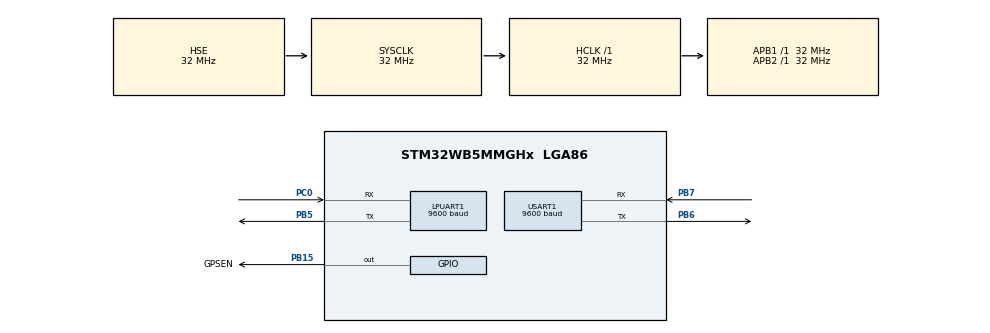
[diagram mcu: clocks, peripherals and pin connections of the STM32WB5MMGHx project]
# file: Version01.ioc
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ADC1.Channel-0\#ChannelRegularConversion=ADC_CHANNEL_TEMPSENSOR
ADC1.Channel-1\#ChannelRegularConversion=ADC_CHANNEL_VBAT
ADC1.ClockPrescaler=ADC_CLOCK_ASYNC_DIV32
ADC1.DMAContinuousRequests=DISABLE
ADC1.EOCSelection=ADC_EOC_SINGLE_CONV
ADC1.NbrOfConversion=2
ADC1.NbrOfConversionFlag=1
ADC1.OffsetNumber-0\#ChannelRegularConversion=ADC_OFFSET_NONE
ADC1.OffsetNumber-1\#ChannelRegularConversion=ADC_OFFSET_NONE
ADC1.Overrun=ADC_OVR_DATA_OVERWRITTEN
ADC1.OversamplingMode=ENABLE
ADC1.Rank-0\#ChannelRegularConversion=1
ADC1.Rank-1\#ChannelRegularConversion=2
ADC1.Ratio=ADC_OVERSAMPLING_RATIO_4
ADC1.RightBitShift=ADC_RIGHTBITSHIFT_2
ADC1.SamplingTime-0\#ChannelRegularConversion=ADC_SAMPLETIME_24CYCLES_5
ADC1.SamplingTime-1\#ChannelRegularConversion=ADC_SAMPLETIME_24CYCLES_5
ADC1.master=1
Dma.ADC1.0.Direction=DMA_PERIPH_TO_MEMORY
Dma.ADC1.0.EventEnable=DISABLE
Dma.ADC1.0.Instance=DMA1_Channel1
Dma.ADC1.0.MemDataAlignment=DMA_MDATAALIGN_HALFWORD
Dma.ADC1.0.MemInc=DMA_MINC_ENABLE
Dma.ADC1.0.Mode=DMA_NORMAL
Dma.ADC1.0.PeriphDataAlignment=DMA_PDATAALIGN_HALFWORD
Dma.ADC1.0.PeriphInc=DMA_PINC_DISABLE
Dma.ADC1.0.Polarity=HAL_DMAMUX_REQ_GEN_RISING
Dma.ADC1.0.Priority=DMA_PRIORITY_LOW
Dma.ADC1.0.RequestNumber=1
Dma.ADC1.0.SignalID=NONE
Dma.ADC1.0.SyncEnable=DISABLE
Dma.ADC1.0.SyncPolarity=HAL_DMAMUX_SYNC_NO_EVENT
Dma.ADC1.0.SyncRequestNumber=1
Dma.ADC1.0.SyncSignalID=NONE
Dma.Request0=ADC1
LPUART1.BaudRate=9600
LPUART1.DMADisableonRxErrorParam=UART_ADVFEATURE_DMA_ENABLEONRXERROR
LPUART1.FIFOMode=UART_FIFOMODE_ENABLE
LPUART1.OverrunDisableParam=UART_ADVFEATURE_OVERRUN_ENABLE
LPUART1.RXFIFOThreshold=UART_RXFIFO_THRESHOLD_1_8
LPUART1.TXFIFOThreshold=UART_TXFIFO_THRESHOLD_1_8
Mcu.Family=STM32WB
Mcu.Name=STM32WB5MMGHx
Mcu.Package=LGA86
NVIC.ADC1_IRQn=true\:0\:0\:false\:false\:true\:true\:true
NVIC.DMA1_Channel1_IRQn=true\:0\:0\:false\:false\:true\:false\:true
NVIC.HSEM_IRQn=true\:0\:0\:false\:false\:true\:false\:true
NVIC.IPCC_C1_RX_IRQn=true\:0\:0\:false\:false\:true\:true\:true
NVIC.IPCC_C1_TX_IRQn=true\:0\:0\:false\:false\:true\:true\:true
NVIC.LPUART1_IRQn=true\:0\:0\:false\:false\:true\:true\:true
NVIC.PriorityGroup=NVIC_PRIORITYGROUP_4
NVIC.USART1_IRQn=true\:0\:0\:false\:false\:true\:true\:true
PB15.GPIO_Label=GPSEN
PB15.Signal=GPIO_Output
PB5.Mode=Asynchronous
PB5.Signal=LPUART1_TX
PB6.GPIO_Speed=GPIO_SPEED_FREQ_HIGH
PB6.Mode=Asynchronous
PB6.Signal=USART1_TX
PB7.GPIO_Speed=GPIO_SPEED_FREQ_HIGH
PB7.Mode=Asynchronous
PB7.Signal=USART1_RX
PC0.Mode=Asynchronous
PC0.Signal=LPUART1_RX
ProjectManager.HeapSize=0x400
ProjectManager.StackSize=0x1000
ProjectManager.TargetToolchain=STM32CubeIDE
RCC.ADCCLockSelection=RCC_ADCCLKSOURCE_SYSCLK
RCC.ADCFreq_Value=32000000
RCC.AHBFreq_Value=32000000
RCC.APB1Freq_Value=32000000
RCC.APB1TimFreq_Value=32000000
RCC.APB2Freq_Value=32000000
RCC.APB2TimFreq_Value=32000000
RCC.APB3Freq_Value=16000000
RCC.CortexFreq_Value=32000000
RCC.HCLKFreq_Value=32000000
RCC.HSE_VALUE=32000000
RCC.HSI48_VALUE=48000000
RCC.HSI_VALUE=16000000
RCC.LPUART1CLockSelection=RCC_LPUART1CLKSOURCE_LSE
RCC.PLLSAI1N=4
RCC.RFWKPClockSelection=RCC_RFWKPCLKSOURCE_LSE
RCC.RTCClockSelection=RCC_RTCCLKSOURCE_LSE
RCC.SMPSCLockSelectionVirtual=RCC_SMPSCLKSOURCE_HSE
RCC.SYSCLKFreq_VALUE=32000000
RCC.SYSCLKSource=RCC_SYSCLKSOURCE_HSE
RCC.USART1CLockSelection=RCC_USART1CLKSOURCE_SYSCLK
RCC.USBFreq_Value=8000000
RCC.VCOOutputFreq_Value=32000000
STM32_WPAN.BLE_ADDR_TYPE=PUBLIC_ADDR
STM32_WPAN.BLE_DBG_APP_EN=0
STM32_WPAN.CFG_ADV_BD_ADDRESS=0x80e1260050d6
STM32_WPAN.CFG_BLE_LSE_SOURCE=1
STM32_WPAN.CFG_DEBUGGER_SUPPORTED=0
STM32_WPAN.CFG_DEBUG_APP_TRACE=1
STM32_WPAN.CFG_DEBUG_BLE_TRACE=1
STM32_WPAN.CFG_DEBUG_TRACE_FULL=0
STM32_WPAN.CFG_DEBUG_TRACE_LIGHT=1
STM32_WPAN.CFG_DEBUG_TRACE_UART=hw_uart1
STM32_WPAN.CFG_FAST_CONN_ADV_INTERVAL_MAX=2500
STM32_WPAN.CFG_FAST_CONN_ADV_INTERVAL_MAX_HEXA=0x0FA0
STM32_WPAN.CFG_FAST_CONN_ADV_INTERVAL_MIN=1000
STM32_WPAN.CFG_FAST_CONN_ADV_INTERVAL_MIN_HEXA=0x0640
STM32_WPAN.CFG_GAP_DEVICE_NAME=P2PSRV1
STM32_WPAN.CFG_GAP_DEVICE_NAME_LENGTH=7
STM32_WPAN.CFG_HW_USART1_DMA_TX_SUPPORTED=0
STM32_WPAN.CFG_HW_USART1_ENABLED=0
STM32_WPAN.CFG_LPM_SUPPORTED=1
STM32_WPAN.CFG_USE_SMPS=1
STM32_WPAN.CUSTOM_P2P_SERVER=Disabled
STM32_WPAN.CUSTOM_TEMPLATE=Enabled
STM32_WPAN.DBG_TRACE_USE_CIRCULAR_QUEUE=0
STM32_WPAN.INCLUDE_AD_TYPE_ADVERTISING_INTERVAL=0
STM32_WPAN.INCLUDE_AD_TYPE_COMPLETE_LOCAL_NAME=1
STM32_WPAN.INCLUDE_AD_TYPE_MANUFACTURER_SPECIFIC_DATA=0
STM32_WPAN.INCLUDE_AD_TYPE_TX_POWER_LEVEL=1
STM32_WPAN.NUMBER_OF_SERVICES=3
STM32_WPAN.SERVICE1_CHAR1_LONG_NAME=LNFeature
STM32_WPAN.SERVICE1_CHAR1_PROP_BROADCAST=CHAR_PROP_BROADCAST
STM32_WPAN.SERVICE1_CHAR1_PROP_READ=CHAR_PROP_READ
STM32_WPAN.SERVICE1_CHAR1_SHORT_NAME=LNF
STM32_WPAN.SERVICE1_CHAR1_UUID=2A 6A
STM32_WPAN.SERVICE1_CHAR1_UUID_TYPE=0x01
STM32_WPAN.SERVICE1_CHAR2_LONG_NAME=LocationandSpeed
STM32_WPAN.SERVICE1_CHAR2_PROP_BROADCAST=CHAR_PROP_BROADCAST
STM32_WPAN.SERVICE1_CHAR2_PROP_READ=CHAR_PROP_READ
STM32_WPAN.SERVICE1_CHAR2_SHORT_NAME=LSc
STM32_WPAN.SERVICE1_CHAR2_UUID=2A 67
STM32_WPAN.SERVICE1_CHAR2_UUID_TYPE=0x01
STM32_WPAN.SERVICE1_LONG_NAME=LocationService
STM32_WPAN.SERVICE1_NUMBER_OF_CHARACTERISTICS=2
STM32_WPAN.SERVICE1_SHORT_NAME=LS
STM32_WPAN.SERVICE1_UUID=18 19
STM32_WPAN.SERVICE1_UUID_TYPE=0x01
STM32_WPAN.SERVICE2_CHAR1_LONG_NAME=BatteryLevel
STM32_WPAN.SERVICE2_CHAR1_PROP_READ=CHAR_PROP_READ
STM32_WPAN.SERVICE2_CHAR1_SHORT_NAME=BatLvl
STM32_WPAN.SERVICE2_CHAR1_UUID=2A 19
STM32_WPAN.SERVICE2_CHAR1_UUID_TYPE=0x01
STM32_WPAN.SERVICE2_LONG_NAME=BatteryService
STM32_WPAN.SERVICE2_SHORT_NAME=BatServ
STM32_WPAN.SERVICE2_UUID=18 0F
STM32_WPAN.SERVICE2_UUID_TYPE=0x01
STM32_WPAN.SERVICE3_CHAR1_LENGTH_CHARACTERISTIC=CHAR_VALUE_LEN_CONSTANT
STM32_WPAN.SERVICE3_CHAR1_LONG_NAME=OTABootRequest
STM32_WPAN.SERVICE3_CHAR1_PROP_WRITE=CHAR_PROP_WRITE
STM32_WPAN.SERVICE3_CHAR1_SHORT_NAME=OTABr
STM32_WPAN.SERVICE3_CHAR1_UUID=00 00 FE 11 8E 22 45 41 9D 4C 21 ED AE 82 ED 19
STM32_WPAN.SERVICE3_CHAR1_UUID_128_INPUT_TYPE=1
STM32_WPAN.SERVICE3_CHAR1_VALUE_LENGTH=3
STM32_WPAN.SERVICE3_CHAR2_LONG_NAME=OTASwitchStatus
STM32_WPAN.SERVICE3_CHAR2_PROP_NOTIFY=CHAR_PROP_NOTIFY
STM32_WPAN.SERVICE3_CHAR2_SHORT_NAME=OTASS
STM32_WPAN.SERVICE3_CHAR2_UUID=00 00 FE 42 8E 22 45 41 9D 4C 21 ED AE 82 ED 00
STM32_WPAN.SERVICE3_CHAR2_UUID_128_INPUT_TYPE=1
STM32_WPAN.SERVICE3_CHAR3_LONG_NAME=OTANetworkStatus
STM32_WPAN.SERVICE3_CHAR3_PROP_WRITE_WITHOUT_RESP=CHAR_PROP_WRITE_WITHOUT_RESP
STM32_WPAN.SERVICE3_CHAR3_SHORT_NAME=OTANS
STM32_WPAN.SERVICE3_CHAR3_UUID=00 00 FE 11 8E 22 45 41 9D 4C 21 ED AE 82 ED 00
STM32_WPAN.SERVICE3_CHAR3_UUID_128_INPUT_TYPE=1
STM32_WPAN.SERVICE3_LONG_NAME=OTAService
STM32_WPAN.SERVICE3_NUMBER_OF_CHARACTERISTICS=1
STM32_WPAN.SERVICE3_SHORT_NAME=OTAServ
STM32_WPAN.SERVICE3_TYPE=PRIMARY_SERVICE
STM32_WPAN.SERVICE3_UUID=00 00 FE 20 CC 7A 48 2A 98 4A 7F 2E D5 B3 E5 8F
STM32_WPAN.SERVICE3_UUID_128_INPUT_TYPE=1
TIM2.Prescaler=32
USART1.BaudRate=9600
USART1.VirtualMode-Asynchronous=VM_ASYNC
VP_ADC1_TempSens_Input.Mode=IN-TempSens
VP_ADC1_Vbat_Input.Mode=IN-Vbat
VP_HSEM_VS_HSEM.Mode=HSEM_Activate
VP_IPCC_VS_IPCC.Mode=IPCC_Activate
VP_RCC_V_OSC32_IN.Mode=LSE-External-Clock-Source
VP_RCC_V_OSC_IN.Mode=HSE-External-Clock-Source
VP_RF_VS_RF.Mode=RF_Activate
VP_RTC_VS_RTC_Activate.Mode=RTC_Enabled
VP_SEQUENCER_VS_SEQUENCER.Mode=SEQUENCER_Enabled
VP_STM32_WPAN_VS_BLE_HOST.Mode=STM32_WPAN_Enabled
VP_TIM2_VS_ClockSourceINT.Mode=Internal
VP_TINY_LPM_VS_TINY_LPM.Mode=TINY_LPM_Enabled
board=custom

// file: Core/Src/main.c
/* USER CODE BEGIN Header */
/**
  ******************************************************************************
  * @file           : main.c
  * @brief          : Main program body
  ******************************************************************************
  * @attention
  *
  * Copyright (c) 2021 STMicroelectronics.
  * All rights reserved.
  *
  * This software is licensed under terms that can be found in the LICENSE file
  * in the root directory of this software component.
  * If no LICENSE file comes with this software, it is provided AS-IS.
  *
  ******************************************************************************
  */
/* USER CODE END Header */
#include "main.h"

/* USER CODE BEGIN Includes */

#include "stm32_lpm.h"
#include "stm32_seq.h"
#include "dbg_trace.h"
#include "hw_conf.h"
#include "otp.h"
/* USER CODE END Includes */

ADC_HandleTypeDef hadc1;
DMA_HandleTypeDef hdma_adc1;

IPCC_HandleTypeDef hipcc;

UART_HandleTypeDef huart1;

RTC_HandleTypeDef hrtc;

TIM_HandleTypeDef htim2;

void SystemClock_Config(void);
void PeriphCommonClock_Config(void);
static void MX_GPIO_Init(void);
static void MX_DMA_Init(void);
static void MX_RF_Init(void);
static void MX_RTC_Init(void);
static void MX_IPCC_Init(void);
static void MX_ADC1_Init(void);
static void MX_TIM2_Init(void);
static void MX_LPUART1_UART_Init(void);

int main(void)
{

  /* MCU Configuration--------------------------------------------------------*/

  /* Reset of all peripherals, Initializes the Flash interface and the Systick. */
  HAL_Init();
  /* Config code for STM32_WPAN (HSE Tuning must be done before system clock configuration) */
  MX_APPE_Config();

  /* Configure the system clock */
  SystemClock_Config();

/* Configure the peripherals common clocks */
  PeriphCommonClock_Config();

  /* IPCC initialisation */
   MX_IPCC_Init();

  /* Initialize all configured peripherals */
  MX_GPIO_Init();
  MX_DMA_Init();
  MX_RF_Init();
  MX_RTC_Init();
  MX_USART1_UART_Init();
  MX_ADC1_Init();
  MX_TIM2_Init();
  MX_LPUART1_UART_Init();
  /* USER CODE BEGIN 2 */
  // ENABLE DEBUGGER
  HAL_DBGMCU_EnableDBGSleepMode();
  HAL_DBGMCU_EnableDBGStopMode();
  LL_EXTI_EnableIT_32_63(LL_EXTI_LINE_48);
  HAL_UART_Transmit(&huart1, "Start1\n", 7, 1000);
  /* USER CODE END 2 */

  /* Init code for STM32_WPAN */
  MX_APPE_Init();
  /* Infinite loop */
  while (1)
  {
    MX_APPE_Process();

  }
}

void SystemClock_Config(void)
{
  RCC_OscInitTypeDef RCC_OscInitStruct = {0};
  RCC_ClkInitTypeDef RCC_ClkInitStruct = {0};

  /** Configure LSE Drive Capability
  */
  HAL_PWR_EnableBkUpAccess();
  __HAL_RCC_LSEDRIVE_CONFIG(RCC_LSEDRIVE_LOW);
  /** Configure the main internal regulator output voltage
  */
  __HAL_PWR_VOLTAGESCALING_CONFIG(PWR_REGULATOR_VOLTAGE_SCALE1);
  /** Initializes the RCC Oscillators according to the specified parameters
  * in the RCC_OscInitTypeDef structure.
  */
  RCC_OscInitStruct.OscillatorType = RCC_OSCILLATORTYPE_HSI|RCC_OSCILLATORTYPE_HSE
                              |RCC_OSCILLATORTYPE_LSE;
  RCC_OscInitStruct.HSEState = RCC_HSE_ON;
  RCC_OscInitStruct.LSEState = RCC_LSE_ON;
  RCC_OscInitStruct.HSIState = RCC_HSI_ON;
  RCC_OscInitStruct.HSICalibrationValue = RCC_HSICALIBRATION_DEFAULT;
  RCC_OscInitStruct.PLL.PLLState = RCC_PLL_NONE;
  if (HAL_RCC_OscConfig(&RCC_OscInitStruct) != HAL_OK)
  {
    Error_Handler();
  }
  /** Configure the SYSCLKSource, HCLK, PCLK1 and PCLK2 clocks dividers
  */
  RCC_ClkInitStruct.ClockType = RCC_CLOCKTYPE_HCLK4|RCC_CLOCKTYPE_HCLK2
                              |RCC_CLOCKTYPE_HCLK|RCC_CLOCKTYPE_SYSCLK
                              |RCC_CLOCKTYPE_PCLK1|RCC_CLOCKTYPE_PCLK2;
  RCC_ClkInitStruct.SYSCLKSource = RCC_SYSCLKSOURCE_HSE;
  RCC_ClkInitStruct.AHBCLKDivider = RCC_SYSCLK_DIV1;
  RCC_ClkInitStruct.APB1CLKDivider = RCC_HCLK_DIV1;
  RCC_ClkInitStruct.APB2CLKDivider = RCC_HCLK_DIV1;
  RCC_ClkInitStruct.AHBCLK2Divider = RCC_SYSCLK_DIV1;
  RCC_ClkInitStruct.AHBCLK4Divider = RCC_SYSCLK_DIV1;

  if (HAL_RCC_ClockConfig(&RCC_ClkInitStruct, FLASH_LATENCY_1) != HAL_OK)
  {
    Error_Handler();
  }
}

void PeriphCommonClock_Config(void)
{
  RCC_PeriphCLKInitTypeDef PeriphClkInitStruct = {0};

  /** Initializes the peripherals clock
  */
  PeriphClkInitStruct.PeriphClockSelection = RCC_PERIPHCLK_SMPS|RCC_PERIPHCLK_RFWAKEUP;
  PeriphClkInitStruct.RFWakeUpClockSelection = RCC_RFWKPCLKSOURCE_LSE;
  PeriphClkInitStruct.SmpsClockSelection = RCC_SMPSCLKSOURCE_HSE;
  PeriphClkInitStruct.SmpsDivSelection = RCC_SMPSCLKDIV_RANGE0;

  if (HAL_RCCEx_PeriphCLKConfig(&PeriphClkInitStruct) != HAL_OK)
  {
    Error_Handler();
  }
  /* USER CODE BEGIN Smps */

#if (CFG_USE_SMPS != 0)
  /**
   *  Configure and enable SMPS
   *
   *  The SMPS configuration is not yet supported by CubeMx
   *  when SMPS output voltage is set to 1.4V, the RF output power is limited to 3.7dBm
   *  the SMPS output voltage shall be increased for higher RF output power
   */
  LL_PWR_SMPS_SetStartupCurrent(LL_PWR_SMPS_STARTUP_CURRENT_80MA);
  LL_PWR_SMPS_SetOutputVoltageLevel(LL_PWR_SMPS_OUTPUT_VOLTAGE_1V40);
  LL_PWR_SMPS_Enable();
#endif

  /* USER CODE END Smps */
}

static void MX_ADC1_Init(void)
{

  ADC_ChannelConfTypeDef sConfig = {0};

  /** Common config
  */
  hadc1.Instance = ADC1;
  hadc1.Init.ClockPrescaler = ADC_CLOCK_ASYNC_DIV32;
  hadc1.Init.Resolution = ADC_RESOLUTION_12B;
  hadc1.Init.DataAlign = ADC_DATAALIGN_RIGHT;
  hadc1.Init.ScanConvMode = ADC_SCAN_ENABLE;
  hadc1.Init.EOCSelection = ADC_EOC_SINGLE_CONV;
  hadc1.Init.LowPowerAutoWait = DISABLE;
  hadc1.Init.ContinuousConvMode = DISABLE;
  hadc1.Init.NbrOfConversion = 2;
  hadc1.Init.DiscontinuousConvMode = DISABLE;
  hadc1.Init.ExternalTrigConv = ADC_SOFTWARE_START;
  hadc1.Init.ExternalTrigConvEdge = ADC_EXTERNALTRIGCONVEDGE_NONE;
  hadc1.Init.DMAContinuousRequests = DISABLE;
  hadc1.Init.Overrun = ADC_OVR_DATA_OVERWRITTEN;
  hadc1.Init.OversamplingMode = ENABLE;
  hadc1.Init.Oversampling.Ratio = ADC_OVERSAMPLING_RATIO_4;
  hadc1.Init.Oversampling.RightBitShift = ADC_RIGHTBITSHIFT_2;
  hadc1.Init.Oversampling.TriggeredMode = ADC_TRIGGEREDMODE_SINGLE_TRIGGER;
  hadc1.Init.Oversampling.OversamplingStopReset = ADC_REGOVERSAMPLING_CONTINUED_MODE;
  if (HAL_ADC_Init(&hadc1) != HAL_OK)
  {
    Error_Handler();
  }
  /** Configure Regular Channel
  */
  sConfig.Channel = ADC_CHANNEL_TEMPSENSOR;
  sConfig.Rank = ADC_REGULAR_RANK_1;
  sConfig.SamplingTime = ADC_SAMPLETIME_24CYCLES_5;
  sConfig.SingleDiff = ADC_SINGLE_ENDED;
  sConfig.OffsetNumber = ADC_OFFSET_NONE;
  sConfig.Offset = 0;
  if (HAL_ADC_ConfigChannel(&hadc1, &sConfig) != HAL_OK)
  {
    Error_Handler();
  }
  /** Configure Regular Channel
  */
  sConfig.Channel = ADC_CHANNEL_VBAT;
  sConfig.Rank = ADC_REGULAR_RANK_2;
  if (HAL_ADC_ConfigChannel(&hadc1, &sConfig) != HAL_OK)
  {
    Error_Handler();
  }

}

static void MX_IPCC_Init(void)
{

  hipcc.Instance = IPCC;
  if (HAL_IPCC_Init(&hipcc) != HAL_OK)
  {
    Error_Handler();
  }

}

static void MX_LPUART1_UART_Init(void)
{

  LL_LPUART_InitTypeDef LPUART_InitStruct = {0};

  LL_GPIO_InitTypeDef GPIO_InitStruct = {0};
  RCC_PeriphCLKInitTypeDef PeriphClkInitStruct = {0};

  /** Initializes the peripherals clock
  */
  PeriphClkInitStruct.PeriphClockSelection = RCC_PERIPHCLK_LPUART1;
  PeriphClkInitStruct.Lpuart1ClockSelection = RCC_LPUART1CLKSOURCE_LSE;
  if (HAL_RCCEx_PeriphCLKConfig(&PeriphClkInitStruct) != HAL_OK)
  {
    Error_Handler();
  }

  /* Peripheral clock enable */
  LL_APB1_GRP2_EnableClock(LL_APB1_GRP2_PERIPH_LPUART1);

  LL_AHB2_GRP1_EnableClock(LL_AHB2_GRP1_PERIPH_GPIOC);
  LL_AHB2_GRP1_EnableClock(LL_AHB2_GRP1_PERIPH_GPIOB);
  /**LPUART1 GPIO Configuration
  PC0   ------> LPUART1_RX
  PB5   ------> LPUART1_TX
  */
  GPIO_InitStruct.Pin = LL_GPIO_PIN_0;
  GPIO_InitStruct.Mode = LL_GPIO_MODE_ALTERNATE;
  GPIO_InitStruct.Speed = LL_GPIO_SPEED_FREQ_LOW;
  GPIO_InitStruct.OutputType = LL_GPIO_OUTPUT_PUSHPULL;
  GPIO_InitStruct.Pull = LL_GPIO_PULL_NO;
  GPIO_InitStruct.Alternate = LL_GPIO_AF_8;
  LL_GPIO_Init(GPIOC, &GPIO_InitStruct);

  GPIO_InitStruct.Pin = LL_GPIO_PIN_5;
  GPIO_InitStruct.Mode = LL_GPIO_MODE_ALTERNATE;
  GPIO_InitStruct.Speed = LL_GPIO_SPEED_FREQ_LOW;
  GPIO_InitStruct.OutputType = LL_GPIO_OUTPUT_PUSHPULL;
  GPIO_InitStruct.Pull = LL_GPIO_PULL_NO;
  GPIO_InitStruct.Alternate = LL_GPIO_AF_8;
  LL_GPIO_Init(GPIOB, &GPIO_InitStruct);

  /* LPUART1 interrupt Init */
  NVIC_SetPriority(LPUART1_IRQn, NVIC_EncodePriority(NVIC_GetPriorityGrouping(),0, 0));
  NVIC_EnableIRQ(LPUART1_IRQn);

  LPUART_InitStruct.PrescalerValue = LL_LPUART_PRESCALER_DIV1;
  LPUART_InitStruct.BaudRate = 9600;
  LPUART_InitStruct.DataWidth = LL_LPUART_DATAWIDTH_8B;
  LPUART_InitStruct.StopBits = LL_LPUART_STOPBITS_1;
  LPUART_InitStruct.Parity = LL_LPUART_PARITY_NONE;
  LPUART_InitStruct.TransferDirection = LL_LPUART_DIRECTION_TX_RX;
  LPUART_InitStruct.HardwareFlowControl = LL_LPUART_HWCONTROL_NONE;
  LL_LPUART_Init(LPUART1, &LPUART_InitStruct);
  LL_LPUART_SetTXFIFOThreshold(LPUART1, LL_LPUART_FIFOTHRESHOLD_1_8);
  LL_LPUART_SetRXFIFOThreshold(LPUART1, LL_LPUART_FIFOTHRESHOLD_1_8);
  LL_LPUART_EnableFIFO(LPUART1);

  /* USER CODE BEGIN WKUPType LPUART1 */

  /* Configure LPUART1 transfer interrupts : */
  /* Clear Overrun flag, in case characters have already been sent to USART */
  LL_LPUART_ClearFlag_ORE(LPUART1);
  /* Enable RXNE interrupts */
  LL_LPUART_EnableIT_RXNE_RXFNE(LPUART1);

  /* Set the wake-up event type : specify wake-up on RXNE flag */

  LL_LPUART_EnableInStopMode(LPUART1);
  LL_LPUART_SetWKUPType(LPUART1, LL_LPUART_WAKEUP_ON_RXNE);

  /* USER CODE END WKUPType LPUART1 */

  LL_LPUART_Enable(LPUART1);

  /* Polling LPUART1 initialisation */
  while((!(LL_LPUART_IsActiveFlag_TEACK(LPUART1))) || (!(LL_LPUART_IsActiveFlag_REACK(LPUART1))))
  {
  }

}

void MX_USART1_UART_Init(void)
{

  huart1.Instance = USART1;
  huart1.Init.BaudRate = 9600;
  huart1.Init.WordLength = UART_WORDLENGTH_8B;
  huart1.Init.StopBits = UART_STOPBITS_1;
  huart1.Init.Parity = UART_PARITY_NONE;
  huart1.Init.Mode = UART_MODE_TX_RX;
  huart1.Init.HwFlowCtl = UART_HWCONTROL_NONE;
  huart1.Init.OverSampling = UART_OVERSAMPLING_16;
  huart1.Init.OneBitSampling = UART_ONE_BIT_SAMPLE_DISABLE;
  huart1.Init.ClockPrescaler = UART_PRESCALER_DIV1;
  huart1.AdvancedInit.AdvFeatureInit = UART_ADVFEATURE_NO_INIT;
  if (HAL_UART_Init(&huart1) != HAL_OK)
  {
    Error_Handler();
  }
  if (HAL_UARTEx_SetTxFifoThreshold(&huart1, UART_TXFIFO_THRESHOLD_1_8) != HAL_OK)
  {
    Error_Handler();
  }
  if (HAL_UARTEx_SetRxFifoThreshold(&huart1, UART_RXFIFO_THRESHOLD_1_8) != HAL_OK)
  {
    Error_Handler();
  }
  if (HAL_UARTEx_DisableFifoMode(&huart1) != HAL_OK)
  {
    Error_Handler();
  }

}

static void MX_RF_Init(void)
{

}

static void MX_RTC_Init(void)
{

  /** Initialize RTC Only
  */
  hrtc.Instance = RTC;
  hrtc.Init.HourFormat = RTC_HOURFORMAT_24;
  hrtc.Init.AsynchPrediv = CFG_RTC_ASYNCH_PRESCALER;
  hrtc.Init.SynchPrediv = CFG_RTC_SYNCH_PRESCALER;
  hrtc.Init.OutPut = RTC_OUTPUT_DISABLE;
  hrtc.Init.OutPutPolarity = RTC_OUTPUT_POLARITY_HIGH;
  hrtc.Init.OutPutType = RTC_OUTPUT_TYPE_OPENDRAIN;
  hrtc.Init.OutPutRemap = RTC_OUTPUT_REMAP_NONE;
  if (HAL_RTC_Init(&hrtc) != HAL_OK)
  {
    Error_Handler();
  }

}

static void MX_TIM2_Init(void)
{

  TIM_ClockConfigTypeDef sClockSourceConfig = {0};
  TIM_MasterConfigTypeDef sMasterConfig = {0};

  htim2.Instance = TIM2;
  htim2.Init.Prescaler = 32;
  htim2.Init.CounterMode = TIM_COUNTERMODE_UP;
  htim2.Init.Period = 4294967295;
  htim2.Init.ClockDivision = TIM_CLOCKDIVISION_DIV1;
  htim2.Init.AutoReloadPreload = TIM_AUTORELOAD_PRELOAD_DISABLE;
  if (HAL_TIM_Base_Init(&htim2) != HAL_OK)
  {
    Error_Handler();
  }
  sClockSourceConfig.ClockSource = TIM_CLOCKSOURCE_INTERNAL;
  if (HAL_TIM_ConfigClockSource(&htim2, &sClockSourceConfig) != HAL_OK)
  {
    Error_Handler();
  }
  sMasterConfig.MasterOutputTrigger = TIM_TRGO_RESET;
  sMasterConfig.MasterSlaveMode = TIM_MASTERSLAVEMODE_DISABLE;
  if (HAL_TIMEx_MasterConfigSynchronization(&htim2, &sMasterConfig) != HAL_OK)
  {
    Error_Handler();
  }

}

static void MX_DMA_Init(void)
{

  /* DMA controller clock enable */
  __HAL_RCC_DMAMUX1_CLK_ENABLE();
  __HAL_RCC_DMA1_CLK_ENABLE();

  /* DMA interrupt init */
  /* DMA1_Channel1_IRQn interrupt configuration */
  HAL_NVIC_SetPriority(DMA1_Channel1_IRQn, 0, 0);
  HAL_NVIC_EnableIRQ(DMA1_Channel1_IRQn);

}

static void MX_GPIO_Init(void)
{
  GPIO_InitTypeDef GPIO_InitStruct = {0};

  /* GPIO Ports Clock Enable */
  __HAL_RCC_GPIOC_CLK_ENABLE();
  __HAL_RCC_GPIOB_CLK_ENABLE();

  /*Configure GPIO pin Output Level */
  HAL_GPIO_WritePin(GPSEN_GPIO_Port, GPSEN_Pin, GPIO_PIN_RESET);

  /*Configure GPIO pin : GPSEN_Pin */
  GPIO_InitStruct.Pin = GPSEN_Pin;
  GPIO_InitStruct.Mode = GPIO_MODE_OUTPUT_PP;
  GPIO_InitStruct.Pull = GPIO_NOPULL;
  GPIO_InitStruct.Speed = GPIO_SPEED_FREQ_LOW;
  HAL_GPIO_Init(GPSEN_GPIO_Port, &GPIO_InitStruct);

}

void Error_Handler(void)
{
  __disable_irq();
  while (1)
  {
  }
}
